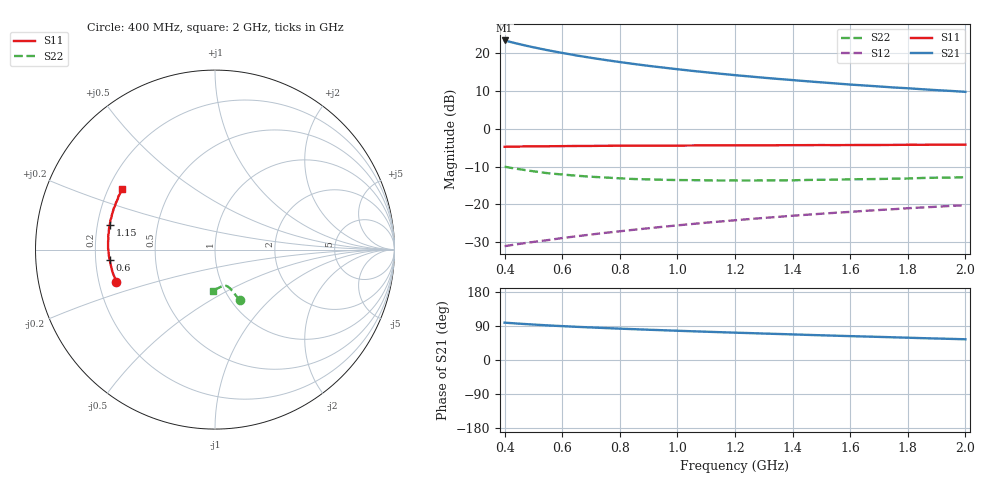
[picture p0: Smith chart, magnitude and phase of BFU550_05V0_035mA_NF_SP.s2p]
! Filename:  P:\Prog\Test\Noise\ATS_data\Testdata_Net\06 Compressed Noise after Statistics\BFU550_APG2013_43_D05_05p0V_035mA_NF_CM01_D.sf
! Date/Time: Fri 26/Apr/2013 13:07:22
! BFU550_APG2013_43_D05_05p0V_1to35mA_NF_CM01_Bias8_R.sf
! Noise Parameter Data File
! BFU550_APG2013_43_D05_05p0V_1to35mA_NF_CM01
! Date/time: Thu Apr 25 16:23:08 2013
! VAR V_out= 5.000000
! VAR I_out= 34.995000
! VAR V_in= 0.830400
! VAR I_in= 0.392050
! Device data file deembeded for feedlines and parallel
! Original file: \06 Compressed Noise after Statistics\BFU550_APG2013_43_D05_05p0V_035mA_NF_CM01_R.sf
! Feed-files: PR047V01_250413_Feed1.s2p, PR047V01_250413_Feed2.s2p
! Parallel-file: PR047V01_250413_Par.s2p
# MHz S MA R 50
!  Freq-MHz  S11-mag  S11-arg  S21-mag  S21-arg  S12-mag  S12-arg  S22-mag  S22-arg
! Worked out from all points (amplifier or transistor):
!   37 points, 400 MHz to 2 GHz, reference 50 ohm
!   highest |S21| = 23.3 dB at 400 MHz (marker M1)
!   |S21| within 3 dB of that: start of sweep to 579.4 MHz
!   unconditionally stable (mu >= 1): 901.8 MHz to end of sweep
!   at 500 MHz: K = 0.84, MSG = 25.7 dB, |S12| = -29.9 dB
!   at 1.1 GHz: K = 1.02, MAG = 18.9 dB, |S12| = -24.8 dB
!   at 2 GHz: K = 1.07, MAG = 13.4 dB, |S12| = -20.2 dB
!   lowest NFmin = 1.26 dB at 400 MHz
!   S11 on the Smith chart (normalised r, x): 400 MHz: 0.27, -0.15; 600 MHz: 0.26, -0.05; 1.15 GHz: 0.25, +0.11; 2 GHz: 0.26, +0.28
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400  0.5777 -162.0  14.65 98.6  0.02814 55.1  0.315 -63.6
420  0.5792 -163.6  14.01 97.5  0.02893 55.5  0.3054 -64.3
440  0.581 -165.0  13.41 96.4  0.02969 55.9  0.2964 -64.6
480  0.5842 -167.7  12.37 94.5  0.03124 56.6  0.2809 -65.5
500  0.5855 -168.9  11.9 93.6  0.03201 57.0  0.2745 -65.8
550  0.5872 -171.9  10.88 91.3  0.03383 58.2  0.2588 -66.3
600  0.5894 -174.3  10.03 89.4  0.03599 58.9  0.2487 -67.3
650  0.5921 -176.6  9.283 87.6  0.03802 59.6  0.2398 -68.2
700  0.5928 -178.5  8.645 85.9  0.04011 60.4  0.2324 -68.6
750  0.5957 179.4  8.087 84.3  0.0422 60.9  0.2268 -69.5
800  0.5962 177.6  7.596 82.8  0.04426 61.4  0.2216 -70.4
850  0.5971 175.9  7.16 81.3  0.04636 61.9  0.2167 -71.0
900  0.5975 174.1  6.766 79.9  0.04854 62.4  0.2145 -71.9
950  0.6 172.7  6.427 78.5  0.05075 62.7  0.2119 -72.7
1050  0.6011 169.5  5.822 75.8  0.05517 63.2  0.2095 -74.4
1150  0.6023 166.8  5.323 73.4  0.05962 63.5  0.2074 -76.1
1200  0.6035 165.3  5.103 72.1  0.06181 63.5  0.2077 -77.1
1350  0.6057 161.6  4.547 68.7  0.06862 63.7  0.2087 -79.9
1500  0.609 157.9  4.096 65.2  0.07546 63.5  0.2119 -82.8
1600  0.6091 155.3  3.833 63.0  0.07983 63.2  0.2148 -84.8
1750  0.6117 152.0  3.509 59.9  0.08663 62.9  0.219 -87.9
2000  0.6155 146.9  3.07 54.7  0.09769 61.9  0.2292 -92.9
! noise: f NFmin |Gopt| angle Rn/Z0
400  1.256  0.4258  -174.9  0.0663
460  1.274  0.4373  -170.3  0.0637
600  1.297  0.4349  -167.4  0.0655
800  1.331  0.4525  -165.1  0.0662
1000  1.377  0.4612  -160.5  0.0697
1200  1.42  0.4664  -156.8  0.0759
1400  1.45  0.4794  -152.6  0.082
1600  1.491  0.4789  -149.2  0.0969
1800  1.53  0.4837  -145.6  0.1068
2000  1.635  0.4768  -142.6  0.1269
